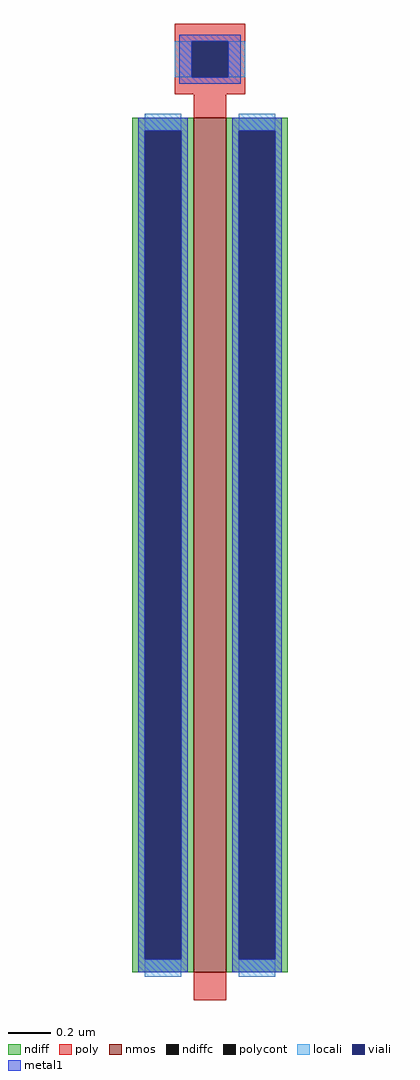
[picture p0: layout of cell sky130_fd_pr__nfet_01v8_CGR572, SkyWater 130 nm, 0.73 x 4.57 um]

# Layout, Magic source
magic
tech sky130A
magscale 1 2
<< nmos >>
rect -15 -431 15 369
<< ndiff >>
rect -73 357 -15 369
rect -73 -419 -61 357
rect -27 -419 -15 357
rect -73 -431 -15 -419
rect 15 357 73 369
rect 15 -419 27 357
rect 61 -419 73 357
rect 15 -431 73 -419
<< ndiffc >>
rect -61 -419 -27 357
rect 27 -419 61 357
<< poly >>
rect -33 441 33 457
rect -33 407 -17 441
rect 17 407 33 441
rect -33 391 33 407
rect -15 369 15 391
rect -15 -457 15 -431
<< polycont >>
rect -17 407 17 441
<< locali >>
rect -33 407 -17 441
rect 17 407 33 441
rect -61 357 -27 373
rect -61 -435 -27 -419
rect 27 357 61 373
rect 27 -435 61 -419
<< viali >>
rect -17 407 17 441
rect -61 -419 -27 357
rect 27 -419 61 357
<< metal1 >>
rect -29 441 29 447
rect -29 407 -17 441
rect 17 407 29 441
rect -29 401 29 407
rect -67 357 -21 369
rect -67 -419 -61 357
rect -27 -419 -21 357
rect -67 -431 -21 -419
rect 21 357 67 369
rect 21 -419 27 357
rect 61 -419 67 357
rect 21 -431 67 -419
<< properties >>
string gencell sky130_fd_pr__nfet_01v8
string library sky130
string parameters w 4 l 0.150 m 1 nf 1 diffcov 100 polycov 100 guard 0 glc 0 grc 1 gtc 1 gbc 1 tbcov 100 rlcov 100 topc 1 botc 0 poverlap 0 doverlap 1 lmin 0.15 wmin 0.42 compatible {sky130_fd_pr__nfet_01v8 sky130_fd_pr__nfet_01v8_lvt  sky130_fd_bs_flash__special_sonosfet_star  sky130_fd_pr__nfet_g5v0d10v5 sky130_fd_pr__nfet_05v0_nvt  sky130_fd_pr__nfet_03v3_nvt} full_metal 0 viasrc 100 viadrn 100 viagate 100 viagb 0 viagr 0 viagl 0 viagt 0
<< end >>
